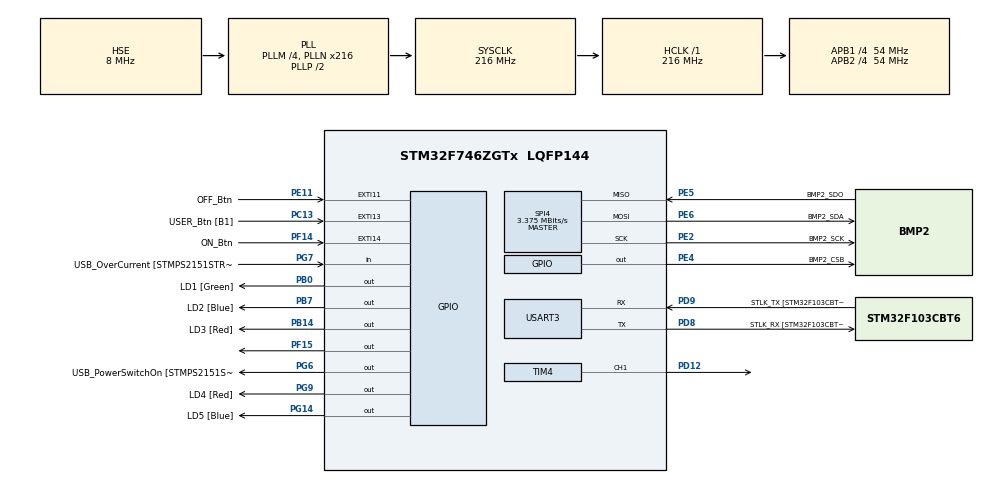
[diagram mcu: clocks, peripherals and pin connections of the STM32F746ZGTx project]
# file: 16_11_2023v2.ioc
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Mcu.Family=STM32F7
Mcu.Name=STM32F746ZGTx
Mcu.Package=LQFP144
NVIC.PriorityGroup=NVIC_PRIORITYGROUP_4
NVIC.TIM2_IRQn=true\:0\:0\:false\:false\:true\:true\:true\:true
NVIC.USART3_IRQn=true\:0\:0\:false\:false\:true\:true\:true\:true
PA1.GPIO_Label=RMII_REF_CLK [LAN8742A-CZ-TR_REFCLK0]
PA1.Signal=ETH_REF_CLK
PA10.GPIO_Label=USB_ID
PA10.Signal=USB_OTG_FS_ID
PA11.GPIO_Label=USB_DM
PA11.Signal=USB_OTG_FS_DM
PA12.GPIO_Label=USB_DP
PA12.Signal=USB_OTG_FS_DP
PA13.GPIO_Label=TMS
PA13.Mode=Serial_Wire
PA13.Signal=SYS_JTMS-SWDIO
PA14.GPIO_Label=TCK
PA14.Mode=Serial_Wire
PA14.Signal=SYS_JTCK-SWCLK
PA2.GPIO_Label=RMII_MDIO [LAN8742A-CZ-TR_MDIO]
PA2.Signal=ETH_MDIO
PA7.GPIO_Label=RMII_CRS_DV [LAN8742A-CZ-TR_CRS_DV]
PA7.Signal=ETH_CRS_DV
PA8.GPIO_Label=USB_SOF [TP1]
PA8.Signal=USB_OTG_FS_SOF
PA9.GPIO_Label=USB_VBUS
PA9.Signal=USB_OTG_FS_VBUS
PB0.GPIO_Label=LD1 [Green]
PB0.Signal=GPIO_Output
PB13.GPIO_Label=RMII_TXD1 [LAN8742A-CZ-TR_TXD1]
PB13.Signal=ETH_TXD1
PB14.GPIO_Label=LD3 [Red]
PB14.Signal=GPIO_Output
PB3.GPIO_Label=SW0
PB3.Signal=SYS_JTDO-SWO
PB7.GPIO_Label=LD2 [Blue]
PB7.Signal=GPIO_Output
PC1.GPIO_Label=RMII_MDC [LAN8742A-CZ-TR_MDC]
PC1.Signal=ETH_MDC
PC13.GPIO_Label=USER_Btn [B1]
PC13.Signal=GPXTI13
PC14/OSC32_IN.Mode=LSE-External-Oscillator
PC14/OSC32_IN.Signal=RCC_OSC32_IN
PC15/OSC32_OUT.Mode=LSE-External-Oscillator
PC15/OSC32_OUT.Signal=RCC_OSC32_OUT
PC4.GPIO_Label=RMII_RXD0 [LAN8742A-CZ-TR_RXD0]
PC4.Signal=ETH_RXD0
PC5.GPIO_Label=RMII_RXD1 [LAN8742A-CZ-TR_RXD1]
PC5.Signal=ETH_RXD1
PD12.Signal=S_TIM4_CH1
PD8.GPIO_Label=STLK_RX [STM32F103CBT6_PA3]
PD8.GPIO_PuPd=GPIO_PULLUP
PD8.Mode=Asynchronous
PD8.Signal=USART3_TX
PD9.GPIO_Label=STLK_TX [STM32F103CBT6_PA2]
PD9.GPIO_PuPd=GPIO_PULLUP
PD9.Mode=Asynchronous
PD9.Signal=USART3_RX
PE11.GPIO_Label=OFF_Btn
PE11.GPIO_PuPd=GPIO_PULLDOWN
PE11.Signal=GPXTI11
PE2.GPIO_Label=BMP2_SCK
PE2.Mode=Full_Duplex_Master
PE2.Signal=SPI4_SCK
PE4.GPIO_Label=BMP2_CSB
PE4.GPIO_Speed=GPIO_SPEED_FREQ_VERY_HIGH
PE4.Signal=GPIO_Output
PE5.GPIO_Label=BMP2_SDO
PE5.Mode=Full_Duplex_Master
PE5.Signal=SPI4_MISO
PE6.GPIO_Label=BMP2_SDA
PE6.Mode=Full_Duplex_Master
PE6.Signal=SPI4_MOSI
PF14.GPIO_Label=ON_Btn
PF14.GPIO_ModeDefaultEXTI=GPIO_MODE_IT_FALLING
PF14.GPIO_PuPd=GPIO_PULLUP
PF14.Signal=GPXTI14
PF15.Signal=GPIO_Output
PG11.GPIO_Label=RMII_TX_EN [LAN8742A-CZ-TR_TXEN]
PG11.Signal=ETH_TX_EN
PG13.GPIO_Label=RMII_TXD0 [LAN8742A-CZ-TR_TXD0]
PG13.Signal=ETH_TXD0
PG14.GPIO_Label=LD5 [Blue]
PG14.Signal=GPIO_Output
PG6.GPIO_Label=USB_PowerSwitchOn [STMPS2151STR_EN]
PG6.Signal=GPIO_Output
PG7.GPIO_Label=USB_OverCurrent [STMPS2151STR_FAULT]
PG7.Signal=GPIO_Input
PG9.GPIO_Label=LD4 [Red]
PG9.Signal=GPIO_Output
PH0/OSC_IN.GPIO_Label=MCO [STM32F103CBT6_PA8]
PH0/OSC_IN.Mode=HSE-External-Clock-Source
PH0/OSC_IN.Signal=RCC_OSC_IN
PH1/OSC_OUT.Mode=HSE-External-Clock-Source
PH1/OSC_OUT.Signal=RCC_OSC_OUT
ProjectManager.HeapSize=0x200
ProjectManager.StackSize=0x400
ProjectManager.TargetToolchain=STM32CubeIDE
RCC.48MHZClocksFreq_Value=24000000
RCC.AHBFreq_Value=216000000
RCC.APB1CLKDivider=RCC_HCLK_DIV4
RCC.APB1Freq_Value=54000000
RCC.APB1TimFreq_Value=108000000
RCC.APB2CLKDivider=RCC_HCLK_DIV4
RCC.APB2Freq_Value=54000000
RCC.APB2TimFreq_Value=108000000
RCC.CortexFreq_Value=216000000
RCC.HCLKFreq_Value=216000000
RCC.HSE_VALUE=8000000
RCC.HSI_VALUE=16000000
RCC.PLLM=4
RCC.PLLMUL=RCC_PLL_MUL9
RCC.PLLN=216
RCC.PLLQ=3
RCC.PLLSourceVirtual=RCC_PLLSOURCE_HSE
RCC.PRESCALERUSB=RCC_USBCLKSOURCE_PLL_DIV1_5
RCC.SYSCLKFreq_VALUE=216000000
RCC.SYSCLKSource=RCC_SYSCLKSOURCE_PLLCLK
RCC.SYSCLKSourceVirtual=RCC_SYSCLKSOURCE_PLLCLK
RCC.USBFreq_Value=144000000
RCC.VCOOutputFreq_Value=432000000
SH.S_TIM4_CH1.0=TIM4_CH1,PWM Generation1 CH1
SPI4.BaudRatePrescaler=SPI_BAUDRATEPRESCALER_16
SPI4.CLKPhase=SPI_PHASE_2EDGE
SPI4.CLKPolarity=SPI_POLARITY_HIGH
SPI4.CalculateBaudRate=3.375 MBits/s
SPI4.DataSize=SPI_DATASIZE_8BIT
SPI4.Direction=SPI_DIRECTION_2LINES
SPI4.Mode=SPI_MODE_MASTER
SPI4.VirtualType=VM_MASTER
TIM2.Period=24999
TIM2.Prescaler=1079
TIM4.Channel-PWM\ Generation1\ CH1=TIM_CHANNEL_1
TIM4.Period=999
TIM4.Prescaler=107
USART3.VirtualMode-Asynchronous=VM_ASYNC
VP_TIM2_VS_ClockSourceINT.Mode=Internal
VP_TIM4_VS_ClockSourceINT.Mode=Internal
board=NUCLEO-F746ZG

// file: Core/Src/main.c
/* USER CODE BEGIN Header */
/**
  ******************************************************************************
  * @file           : main.c
  * @brief          : Main program body
  ******************************************************************************
  * @attention
  *
  * Copyright (c) 2023 STMicroelectronics.
  * All rights reserved.
  *
  * This software is licensed under terms that can be found in the LICENSE file
  * in the root directory of this software component.
  * If no LICENSE file comes with this software, it is provided AS-IS.
  *
  ******************************************************************************
  */
/* USER CODE END Header */
#include "main.h"
#include "spi.h"
#include "tim.h"
#include "usart.h"
#include "gpio.h"

/* USER CODE BEGIN Includes */
#include <stdio.h>
#include <stdlib.h>
#include "string.h"s
#include "bmp2_config.h"
#include "heater_config.h"
/* USER CODE END Includes */

/* USER CODE BEGIN PV */
double temp = 0.0f;     // [degC]
uint32_t temp_int;	// [mdegC]
double press = 0.0f;    // [hPa]
uint32_t press_int; // [Pa]

char rx_buffer[8];
const int rx_msg_len = 3;
/* USER CODE END PV */

void SystemClock_Config(void);

/* USER CODE BEGIN 0 */
/**
  * @brief  Period elapsed callback in non-blocking mode
  * @param  htim TIM handle
  * @retval None
  */
void HAL_TIM_PeriodElapsedCallback(TIM_HandleTypeDef *htim)
{
  if(htim == &htim2)
  {
    static unsigned int cnt = 0;
    cnt++;
    BMP2_ReadData(&bmp2dev, &press, &temp);

    temp_int = 1000 * temp;
    press_int = 100 * press;

    if(cnt == 4)
    {
      char tx_buffer[64];
      int tx_msg_len = sprintf(tx_buffer, "%2u.%03u;%5u.%02u\r", temp_int / 1000, temp_int % 1000, press_int / 100, press_int % 100);
      HAL_UART_Transmit(&huart3, tx_buffer, tx_msg_len, 100);
      cnt = 0;
    }
  }
}

/**
  * @brief  Rx Transfer completed callback.
  * @param  huart UART handle.
  * @retval None
  */
void HAL_UART_RxCpltCallback(UART_HandleTypeDef *huart)
{
  if(huart == &huart3)
  {
    int duty_cycle = strtol(rx_buffer, 0, 10);
    pwmWriteDuty(&hpwm, duty_cycle);
    HAL_UART_Receive_IT(&huart3, rx_buffer, rx_msg_len);
    HAL_ADC
  }
}
/* USER CODE END 0 */

int main(void)
{

  /* MCU Configuration--------------------------------------------------------*/

  /* Reset of all peripherals, Initializes the Flash interface and the Systick. */
  HAL_Init();

  /* Configure the system clock */
  SystemClock_Config();

  /* Initialize all configured peripherals */
  MX_GPIO_Init();
  MX_USART3_UART_Init();
  MX_SPI4_Init();
  MX_TIM2_Init();
  MX_TIM4_Init();
  /* USER CODE BEGIN 2 */
  BMP2_Init(&bmp2dev);
  HEATER_PWM_Init(&hpwm);
  HAL_TIM_Base_Start_IT(&htim2);
  HAL_UART_Receive_IT(&huart3, rx_buffer, rx_msg_len);
  /* USER CODE END 2 */

  /* Infinite loop */
  while (1)
  {

  }
}

void SystemClock_Config(void)
{
  RCC_OscInitTypeDef RCC_OscInitStruct = {0};
  RCC_ClkInitTypeDef RCC_ClkInitStruct = {0};

  /** Configure LSE Drive Capability
  */
  HAL_PWR_EnableBkUpAccess();

  /** Configure the main internal regulator output voltage
  */
  __HAL_RCC_PWR_CLK_ENABLE();
  __HAL_PWR_VOLTAGESCALING_CONFIG(PWR_REGULATOR_VOLTAGE_SCALE1);

  /** Initializes the RCC Oscillators according to the specified parameters
  * in the RCC_OscInitTypeDef structure.
  */
  RCC_OscInitStruct.OscillatorType = RCC_OSCILLATORTYPE_HSE;
  RCC_OscInitStruct.HSEState = RCC_HSE_BYPASS;
  RCC_OscInitStruct.PLL.PLLState = RCC_PLL_ON;
  RCC_OscInitStruct.PLL.PLLSource = RCC_PLLSOURCE_HSE;
  RCC_OscInitStruct.PLL.PLLM = 4;
  RCC_OscInitStruct.PLL.PLLN = 216;
  RCC_OscInitStruct.PLL.PLLP = RCC_PLLP_DIV2;
  RCC_OscInitStruct.PLL.PLLQ = 3;
  if (HAL_RCC_OscConfig(&RCC_OscInitStruct) != HAL_OK)
  {
    Error_Handler();
  }

  /** Activate the Over-Drive mode
  */
  if (HAL_PWREx_EnableOverDrive() != HAL_OK)
  {
    Error_Handler();
  }

  /** Initializes the CPU, AHB and APB buses clocks
  */
  RCC_ClkInitStruct.ClockType = RCC_CLOCKTYPE_HCLK|RCC_CLOCKTYPE_SYSCLK
                              |RCC_CLOCKTYPE_PCLK1|RCC_CLOCKTYPE_PCLK2;
  RCC_ClkInitStruct.SYSCLKSource = RCC_SYSCLKSOURCE_PLLCLK;
  RCC_ClkInitStruct.AHBCLKDivider = RCC_SYSCLK_DIV1;
  RCC_ClkInitStruct.APB1CLKDivider = RCC_HCLK_DIV4;
  RCC_ClkInitStruct.APB2CLKDivider = RCC_HCLK_DIV4;

  if (HAL_RCC_ClockConfig(&RCC_ClkInitStruct, FLASH_LATENCY_7) != HAL_OK)
  {
    Error_Handler();
  }
}

void Error_Handler(void)
{
  __disable_irq();
  while (1)
  {
  }
}
